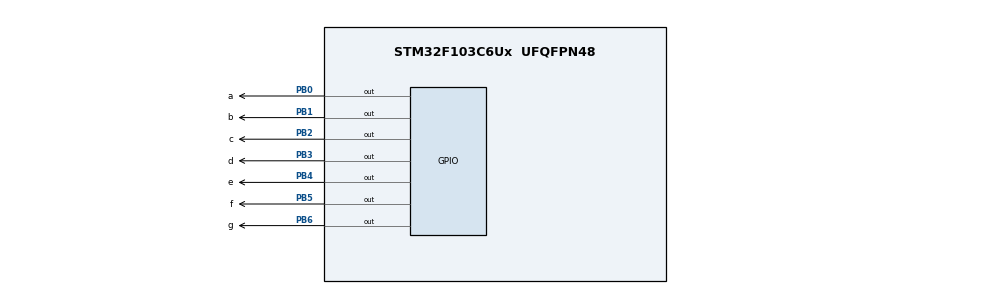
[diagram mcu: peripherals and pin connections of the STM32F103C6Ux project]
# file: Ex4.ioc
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Mcu.Family=STM32F1
Mcu.Name=STM32F103C6Ux
Mcu.Package=UFQFPN48
NVIC.PriorityGroup=NVIC_PRIORITYGROUP_4
PB0.GPIO_Label=a
PB0.Signal=GPIO_Output
PB1.GPIO_Label=b
PB1.Signal=GPIO_Output
PB2.GPIO_Label=c
PB2.Signal=GPIO_Output
PB3.GPIO_Label=d
PB3.Signal=GPIO_Output
PB4.GPIO_Label=e
PB4.Signal=GPIO_Output
PB5.GPIO_Label=f
PB5.Signal=GPIO_Output
PB6.GPIO_Label=g
PB6.Signal=GPIO_Output
ProjectManager.HeapSize=0x200
ProjectManager.StackSize=0x400
ProjectManager.TargetToolchain=STM32CubeIDE
RCC.APB1Freq_Value=8000000
RCC.APB2Freq_Value=8000000
VP_SYS_VS_ND.Mode=No_Debug
board=custom

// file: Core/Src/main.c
/* USER CODE BEGIN Header */
/**
  ******************************************************************************
  * @file           : main.c
  * @brief          : Main program body
  ******************************************************************************
  * @attention
  *
  * <h2><center>&copy; Copyright (c) 2023 STMicroelectronics.
  * All rights reserved.</center></h2>
  *
  * This software component is licensed by ST under BSD 3-Clause license,
  * the "License"; You may not use this file except in compliance with the
  * License. You may obtain a copy of the License at:
  *                        opensource.org/licenses/BSD-3-Clause
  *
  ******************************************************************************
  */
/* USER CODE END Header */
#include "main.h"

void SystemClock_Config(void);
static void MX_GPIO_Init(void);

/* USER CODE BEGIN 0 */
void display7SEG(int num)
{
    	  switch(num)
    	  {
    	  	  	case 0:
    				  HAL_GPIO_WritePin(a_GPIO_Port, a_Pin, RESET);
    				  HAL_GPIO_WritePin(b_GPIO_Port, b_Pin, RESET);
    				  HAL_GPIO_WritePin(c_GPIO_Port, c_Pin, RESET);
    				  HAL_GPIO_WritePin(d_GPIO_Port, d_Pin, RESET);
    				  HAL_GPIO_WritePin(e_GPIO_Port, e_Pin, RESET);
    				  HAL_GPIO_WritePin(f_GPIO_Port, f_Pin, RESET);
    				  HAL_GPIO_WritePin(g_GPIO_Port, g_Pin, SET);
    				  break;
    	  		case 1:
    				  HAL_GPIO_WritePin(a_GPIO_Port, a_Pin, SET);
    				  HAL_GPIO_WritePin(b_GPIO_Port, b_Pin, RESET);
    				  HAL_GPIO_WritePin(c_GPIO_Port, c_Pin, RESET);
    				  HAL_GPIO_WritePin(d_GPIO_Port, d_Pin, SET);
    				  HAL_GPIO_WritePin(e_GPIO_Port, e_Pin, SET);
    				  HAL_GPIO_WritePin(f_GPIO_Port, f_Pin, SET);
    				  HAL_GPIO_WritePin(g_GPIO_Port, g_Pin, SET);
    				  break;
    	  		case 2:
    				  HAL_GPIO_WritePin(a_GPIO_Port, a_Pin, RESET);
    				  HAL_GPIO_WritePin(b_GPIO_Port, b_Pin, RESET);
    				  HAL_GPIO_WritePin(c_GPIO_Port, c_Pin, SET);
    				  HAL_GPIO_WritePin(d_GPIO_Port, d_Pin, RESET);
    				  HAL_GPIO_WritePin(e_GPIO_Port, e_Pin, RESET);
    				  HAL_GPIO_WritePin(f_GPIO_Port, f_Pin, SET);
    				  HAL_GPIO_WritePin(g_GPIO_Port, g_Pin, RESET);
    				  break;
    	  		case 3:
    				  HAL_GPIO_WritePin(a_GPIO_Port, a_Pin, RESET);
    				  HAL_GPIO_WritePin(b_GPIO_Port, b_Pin, RESET);
    				  HAL_GPIO_WritePin(c_GPIO_Port, c_Pin, RESET);
    				  HAL_GPIO_WritePin(d_GPIO_Port, d_Pin, RESET);
    				  HAL_GPIO_WritePin(e_GPIO_Port, e_Pin, SET);
    				  HAL_GPIO_WritePin(f_GPIO_Port, f_Pin, SET);
    				  HAL_GPIO_WritePin(g_GPIO_Port, g_Pin, RESET);
    				  break;
    	  		case 4:
    		  		  HAL_GPIO_WritePin(a_GPIO_Port, a_Pin, SET);
    				  HAL_GPIO_WritePin(b_GPIO_Port, b_Pin, RESET);
    				  HAL_GPIO_WritePin(c_GPIO_Port, c_Pin, RESET);
    				  HAL_GPIO_WritePin(d_GPIO_Port, d_Pin, SET);
    				  HAL_GPIO_WritePin(e_GPIO_Port, e_Pin, SET);
    				  HAL_GPIO_WritePin(f_GPIO_Port, f_Pin, RESET);
    				  HAL_GPIO_WritePin(g_GPIO_Port, g_Pin, RESET);
    				  break;
    			case 5:
    				  HAL_GPIO_WritePin(a_GPIO_Port, a_Pin, RESET);
    				  HAL_GPIO_WritePin(b_GPIO_Port, b_Pin, SET);
    				  HAL_GPIO_WritePin(c_GPIO_Port, c_Pin, RESET);
    				  HAL_GPIO_WritePin(d_GPIO_Port, d_Pin, RESET);
    				  HAL_GPIO_WritePin(e_GPIO_Port, e_Pin, SET);
    				  HAL_GPIO_WritePin(f_GPIO_Port, f_Pin, RESET);
    				  HAL_GPIO_WritePin(g_GPIO_Port, g_Pin, RESET);
    				  break;
    			case 6:
    				  HAL_GPIO_WritePin(a_GPIO_Port, a_Pin, RESET);
    				  HAL_GPIO_WritePin(b_GPIO_Port, b_Pin, SET);
    				  HAL_GPIO_WritePin(c_GPIO_Port, c_Pin, RESET);
    				  HAL_GPIO_WritePin(d_GPIO_Port, d_Pin, RESET);
    				  HAL_GPIO_WritePin(e_GPIO_Port, e_Pin, RESET);
    				  HAL_GPIO_WritePin(f_GPIO_Port, f_Pin, RESET);
    				  HAL_GPIO_WritePin(g_GPIO_Port, g_Pin, RESET);
    				  break;
    			case 7:
    				  HAL_GPIO_WritePin(a_GPIO_Port, a_Pin, RESET);
    				  HAL_GPIO_WritePin(b_GPIO_Port, b_Pin, RESET);
    				  HAL_GPIO_WritePin(c_GPIO_Port, c_Pin, RESET);
    				  HAL_GPIO_WritePin(d_GPIO_Port, d_Pin, SET);
    				  HAL_GPIO_WritePin(e_GPIO_Port, e_Pin, SET);
    				  HAL_GPIO_WritePin(f_GPIO_Port, f_Pin, SET);
    				  HAL_GPIO_WritePin(g_GPIO_Port, g_Pin, SET);
    				  break;
    			case 8:
    				  HAL_GPIO_WritePin(a_GPIO_Port, a_Pin, RESET);
    				  HAL_GPIO_WritePin(b_GPIO_Port, b_Pin, RESET);
    				  HAL_GPIO_WritePin(c_GPIO_Port, c_Pin, RESET);
    				  HAL_GPIO_WritePin(d_GPIO_Port, d_Pin, RESET);
    				  HAL_GPIO_WritePin(e_GPIO_Port, e_Pin, RESET);
    				  HAL_GPIO_WritePin(f_GPIO_Port, f_Pin, RESET);
    				  HAL_GPIO_WritePin(g_GPIO_Port, g_Pin, RESET);
    				  break;
    			case 9:
    				  HAL_GPIO_WritePin(a_GPIO_Port, a_Pin, RESET);
    				  HAL_GPIO_WritePin(b_GPIO_Port, b_Pin, RESET);
    				  HAL_GPIO_WritePin(c_GPIO_Port, c_Pin, RESET);
    				  HAL_GPIO_WritePin(d_GPIO_Port, d_Pin, RESET);
    				  HAL_GPIO_WritePin(e_GPIO_Port, e_Pin, SET);
    				  HAL_GPIO_WritePin(f_GPIO_Port, f_Pin, RESET);
    				  HAL_GPIO_WritePin(g_GPIO_Port, g_Pin, RESET);
    				  break;

    	  }
}
/* USER CODE END 0 */

int main(void)
{

  /* MCU Configuration--------------------------------------------------------*/

  /* Reset of all peripherals, Initializes the Flash interface and the Systick. */
  HAL_Init();

  /* Configure the system clock */
  SystemClock_Config();

  /* Initialize all configured peripherals */
  MX_GPIO_Init();

  /* Infinite loop */
  /* USER CODE BEGIN WHILE */
  int counter = 0;
  while (1)
  {
	if (counter >= 10) counter = 0;
	display7SEG(counter++);
	HAL_Delay(1000);
    /* USER CODE END WHILE */

  }
}

void SystemClock_Config(void)
{
  RCC_OscInitTypeDef RCC_OscInitStruct = {0};
  RCC_ClkInitTypeDef RCC_ClkInitStruct = {0};

  /** Initializes the RCC Oscillators according to the specified parameters
  * in the RCC_OscInitTypeDef structure.
  */
  RCC_OscInitStruct.OscillatorType = RCC_OSCILLATORTYPE_HSI;
  RCC_OscInitStruct.HSIState = RCC_HSI_ON;
  RCC_OscInitStruct.HSICalibrationValue = RCC_HSICALIBRATION_DEFAULT;
  RCC_OscInitStruct.PLL.PLLState = RCC_PLL_NONE;
  if (HAL_RCC_OscConfig(&RCC_OscInitStruct) != HAL_OK)
  {
    Error_Handler();
  }
  /** Initializes the CPU, AHB and APB buses clocks
  */
  RCC_ClkInitStruct.ClockType = RCC_CLOCKTYPE_HCLK|RCC_CLOCKTYPE_SYSCLK
                              |RCC_CLOCKTYPE_PCLK1|RCC_CLOCKTYPE_PCLK2;
  RCC_ClkInitStruct.SYSCLKSource = RCC_SYSCLKSOURCE_HSI;
  RCC_ClkInitStruct.AHBCLKDivider = RCC_SYSCLK_DIV1;
  RCC_ClkInitStruct.APB1CLKDivider = RCC_HCLK_DIV1;
  RCC_ClkInitStruct.APB2CLKDivider = RCC_HCLK_DIV1;

  if (HAL_RCC_ClockConfig(&RCC_ClkInitStruct, FLASH_LATENCY_0) != HAL_OK)
  {
    Error_Handler();
  }
}

static void MX_GPIO_Init(void)
{
  GPIO_InitTypeDef GPIO_InitStruct = {0};

  /* GPIO Ports Clock Enable */
  __HAL_RCC_GPIOB_CLK_ENABLE();

  /*Configure GPIO pin Output Level */
  HAL_GPIO_WritePin(GPIOB, a_Pin|b_Pin|c_Pin|d_Pin
                          |e_Pin|f_Pin|g_Pin, GPIO_PIN_RESET);

  /*Configure GPIO pins : a_Pin b_Pin c_Pin d_Pin
                           e_Pin f_Pin g_Pin */
  GPIO_InitStruct.Pin = a_Pin|b_Pin|c_Pin|d_Pin
                          |e_Pin|f_Pin|g_Pin;
  GPIO_InitStruct.Mode = GPIO_MODE_OUTPUT_PP;
  GPIO_InitStruct.Pull = GPIO_NOPULL;
  GPIO_InitStruct.Speed = GPIO_SPEED_FREQ_LOW;
  HAL_GPIO_Init(GPIOB, &GPIO_InitStruct);

}

void Error_Handler(void)
{
  __disable_irq();
  while (1)
  {
  }
}

/************************ (C) COPYRIGHT STMicroelectronics *****END OF FILE****/
